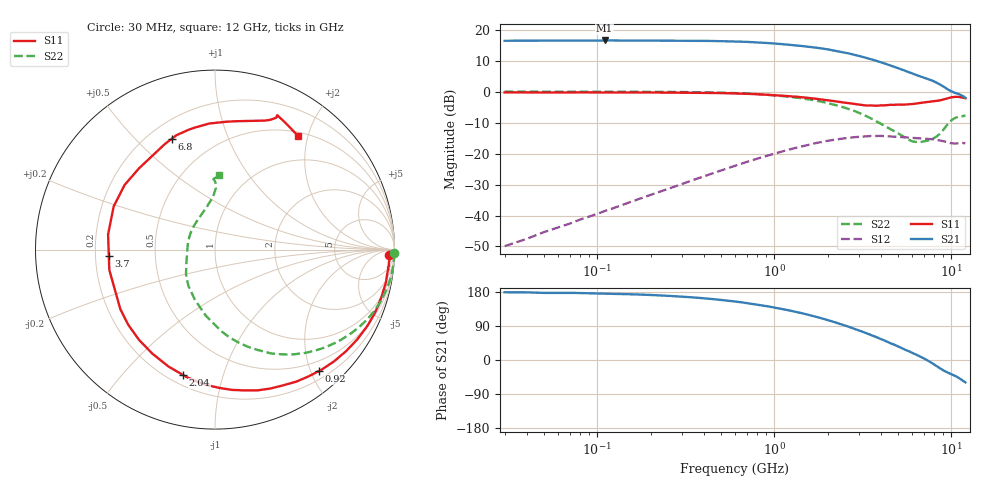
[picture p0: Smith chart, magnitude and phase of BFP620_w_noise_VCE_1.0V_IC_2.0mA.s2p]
! Infineon Technologies  Discrete & RF Semiconductors
! BFP620
! VCE =  1.0 V,  IC =  2.0 mA
! Common Emitter S-Parameters:  Nov 2015
# GHz  S  MA  R  50
!  f  S11  S21  S12  S22
! GHz  MAG  ANG  MAG  ANG  MAG  ANG  MAG  ANG
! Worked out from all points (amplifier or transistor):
!   239 points, 30 MHz to 12 GHz, reference 50 ohm
!   highest |S21| = 16.5 dB at 110 MHz (marker M1)
!   |S21| within 3 dB of that: start of sweep to 2.057 GHz
!   unconditionally stable (mu >= 1): 6.872 GHz to end of sweep
!   at 300 MHz: K = 0.03, MSG = 23.2 dB, |S12| = -29.8 dB
!   at 1.88 GHz: K = 0.30, MSG = 15.0 dB, |S12| = -16.2 dB
!   at 12 GHz: K = 1.49, MAG = 3.2 dB, |S12| = -16.7 dB
!   lowest NFmin = 0.64 dB at 450 MHz
!   S11 on the Smith chart (normalised r, x): 30 MHz: 34, -36; 920 MHz: 0.33, -2.13; 2.04 GHz: 0.26, -0.74; 3.7 GHz: 0.26, -0.03; 6.8 GHz: 0.29, +0.64; 12 GHz: 0.55, +1.83
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0.03  0.9726 -1.7  6.633 178.8  0.0032 88.5  0.9987 -1.1
0.085  0.9718 -4.6  6.67 176.4  0.0091 87.4  0.9986 -3.1
0.11  0.9689 -5.9  6.709 175.1  0.0118 86.8  0.9978 -4.0
0.17  0.969 -9.2  6.682 172.9  0.0183 84.7  0.9952 -6.2
0.24  0.9667 -12.9  6.664 169.8  0.0257 82.6  0.9913 -8.7
0.4  0.9574 -21.7  6.615 162.9  0.0429 77.3  0.9765 -14.4
0.6  0.9372 -32.4  6.456 154.4  0.0637 70.4  0.9495 -21.5
0.72  0.9202 -38.9  6.34 149.4  0.0753 66.3  0.9277 -25.5
0.92  0.8907 -49.4  6.089 141.6  0.0933 59.7  0.888 -31.9
1.28  0.8353 -67.3  5.628 128.7  0.1209 49.1  0.8127 -42.5
1.64  0.7801 -85.1  5.221 116.7  0.1433 39.6  0.7348 -52.4
2.04  0.7211 -104.3  4.771 104.3  0.1622 29.7  0.6456 -62.8
2.72  0.6446 -135.5  4.053 85.3  0.1819 15.4  0.5081 -78.9
3  0.6229 -147.9  3.791 77.9  0.1867 10.2  0.4565 -85.5
3.7  0.5925 -176.7  3.2 61.9  0.1921 -1.4  0.3425 -102.6
4.5  0.6136 156.9  2.666 44.9  0.1903 -12.5  0.251 -126.2
5.5  0.6198 133.1  2.162 26.8  0.1828 -22.5  0.1803 -152.7
6.8  0.6627 111.3  1.731 7.1  0.1756 -32.3  0.1549 165.6
8  0.7032 92.6  1.461 -12.0  0.1692 -41.6  0.1787 129.9
9  0.7458 73.9  1.215 -27.3  0.1589 -48.8  0.2415 101.0
11  0.8232 64.7  0.917 -47.0  0.1464 -53.3  0.3934 91.3
12  0.7844 54.1  0.798 -59.1  0.1463 -58.4  0.414 86.6
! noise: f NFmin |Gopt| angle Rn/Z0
0.45  0.64  0.73  6  0.25
0.9  0.68  0.65  14  0.24
1.9  0.77  0.45  43  0.2
2.4  0.88  0.39  62  0.19
3.5  0.92  0.28  86  0.16
5.5  1.51  0.26  176  0.13
10  2.39  0.65  -60  1.15
